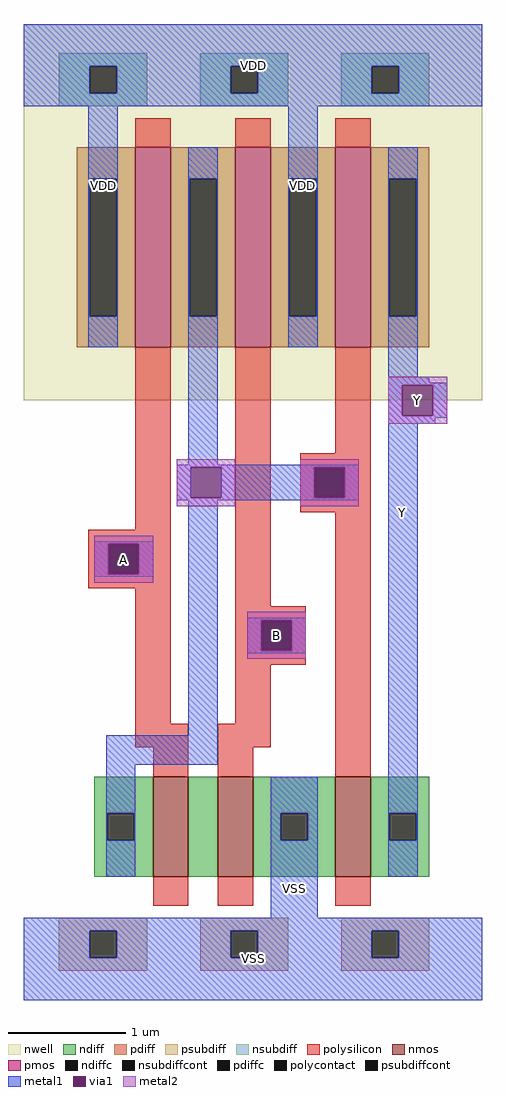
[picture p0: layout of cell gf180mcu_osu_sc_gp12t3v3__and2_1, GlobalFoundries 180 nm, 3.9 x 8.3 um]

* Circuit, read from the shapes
.subckt gf180mcu_osu_sc_gp12t3v3__and2_1 A B Y VDD VSS
XM1 n1 A n2 VSS nfet_03v3 w=0.85u l=0.3u
XM2 VSS B n1 VSS nfet_03v3 w=0.85u l=0.3u
XM3 Y n2 VSS VSS nfet_03v3 w=0.85u l=0.3u
XM4 n2 A VDD VDD pfet_03v3 w=1.7u l=0.3u
XM5 VDD B n2 VDD pfet_03v3 w=1.7u l=0.3u
XM6 Y n2 VDD VDD pfet_03v3 w=1.7u l=0.3u
.ends

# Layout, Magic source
magic
tech gf180mcuA
magscale 1 10
<< nwell >>
rect 0 1020 780 1660
<< nmos >>
rect 220 210 280 380
rect 330 210 390 380
rect 530 210 590 380
<< pmos >>
rect 190 1110 250 1450
rect 360 1110 420 1450
rect 530 1110 590 1450
<< ndiff >>
rect 120 318 220 380
rect 120 272 142 318
rect 188 272 220 318
rect 120 210 220 272
rect 280 210 330 380
rect 390 318 530 380
rect 390 272 437 318
rect 483 272 530 318
rect 390 210 530 272
rect 590 318 690 380
rect 590 272 622 318
rect 668 272 690 318
rect 590 210 690 272
<< pdiff >>
rect 90 1397 190 1450
rect 90 1163 112 1397
rect 158 1163 190 1397
rect 90 1110 190 1163
rect 250 1397 360 1450
rect 250 1163 282 1397
rect 328 1163 360 1397
rect 250 1110 360 1163
rect 420 1397 530 1450
rect 420 1163 452 1397
rect 498 1163 530 1397
rect 420 1110 530 1163
rect 590 1397 690 1450
rect 590 1163 622 1397
rect 668 1163 690 1397
rect 590 1110 690 1163
<< ndiffc >>
rect 142 272 188 318
rect 437 272 483 318
rect 622 272 668 318
<< pdiffc >>
rect 112 1163 158 1397
rect 282 1163 328 1397
rect 452 1163 498 1397
rect 622 1163 668 1397
<< psubdiff >>
rect 60 118 210 140
rect 60 72 112 118
rect 158 72 210 118
rect 60 50 210 72
rect 300 118 450 140
rect 300 72 352 118
rect 398 72 450 118
rect 300 50 450 72
rect 540 118 690 140
rect 540 72 592 118
rect 638 72 690 118
rect 540 50 690 72
<< nsubdiff >>
rect 60 1588 210 1610
rect 60 1542 112 1588
rect 158 1542 210 1588
rect 60 1520 210 1542
rect 300 1588 450 1610
rect 300 1542 352 1588
rect 398 1542 450 1588
rect 300 1520 450 1542
rect 540 1588 690 1610
rect 540 1542 592 1588
rect 638 1542 690 1588
rect 540 1520 690 1542
<< psubdiffcont >>
rect 112 72 158 118
rect 352 72 398 118
rect 592 72 638 118
<< nsubdiffcont >>
rect 112 1542 158 1588
rect 352 1542 398 1588
rect 592 1542 638 1588
<< polysilicon >>
rect 190 1450 250 1500
rect 360 1450 420 1500
rect 530 1450 590 1500
rect 190 800 250 1110
rect 110 773 250 800
rect 110 727 147 773
rect 193 727 250 773
rect 110 700 250 727
rect 190 470 250 700
rect 360 670 420 1110
rect 530 930 590 1110
rect 470 903 590 930
rect 470 857 497 903
rect 543 857 590 903
rect 470 830 590 857
rect 360 643 480 670
rect 360 597 407 643
rect 453 597 480 643
rect 360 570 480 597
rect 360 470 420 570
rect 190 430 280 470
rect 220 380 280 430
rect 330 430 420 470
rect 330 380 390 430
rect 530 380 590 830
rect 220 160 280 210
rect 330 160 390 210
rect 530 160 590 210
<< polycontact >>
rect 147 727 193 773
rect 497 857 543 903
rect 407 597 453 643
<< metal1 >>
rect 0 1588 780 1660
rect 0 1542 112 1588
rect 158 1542 352 1588
rect 398 1542 592 1588
rect 638 1542 780 1588
rect 0 1520 780 1542
rect 110 1397 160 1520
rect 110 1163 112 1397
rect 158 1163 160 1397
rect 110 1110 160 1163
rect 280 1397 330 1450
rect 280 1163 282 1397
rect 328 1163 330 1397
rect 280 910 330 1163
rect 450 1397 500 1520
rect 450 1163 452 1397
rect 498 1163 500 1397
rect 450 1110 500 1163
rect 620 1397 670 1450
rect 620 1163 622 1397
rect 668 1163 670 1397
rect 620 1060 670 1163
rect 620 1050 690 1060
rect 620 1046 720 1050
rect 620 994 644 1046
rect 696 994 720 1046
rect 620 990 720 994
rect 620 980 700 990
rect 260 906 570 910
rect 260 854 284 906
rect 336 854 494 906
rect 546 854 570 906
rect 260 850 570 854
rect 120 776 220 780
rect 120 724 144 776
rect 196 724 220 776
rect 120 720 220 724
rect 280 450 330 850
rect 380 646 480 650
rect 380 594 404 646
rect 456 594 480 646
rect 380 590 480 594
rect 140 400 330 450
rect 140 318 190 400
rect 140 272 142 318
rect 188 272 190 318
rect 140 210 190 272
rect 420 318 500 380
rect 420 272 437 318
rect 483 272 500 318
rect 420 140 500 272
rect 620 318 670 980
rect 620 272 622 318
rect 668 272 670 318
rect 620 210 670 272
rect 0 118 780 140
rect 0 72 112 118
rect 158 72 352 118
rect 398 72 592 118
rect 638 72 780 118
rect 0 0 780 72
<< via1 >>
rect 644 994 696 1046
rect 284 854 336 906
rect 494 903 546 906
rect 494 857 497 903
rect 497 857 543 903
rect 543 857 546 903
rect 494 854 546 857
rect 144 773 196 776
rect 144 727 147 773
rect 147 727 193 773
rect 193 727 196 773
rect 144 724 196 727
rect 404 643 456 646
rect 404 597 407 643
rect 407 597 453 643
rect 453 597 456 643
rect 404 594 456 597
<< metal2 >>
rect 620 1046 720 1060
rect 620 994 644 1046
rect 696 994 720 1046
rect 620 980 720 994
rect 260 906 360 920
rect 260 854 284 906
rect 336 854 360 906
rect 260 840 360 854
rect 470 906 570 920
rect 470 854 494 906
rect 546 854 570 906
rect 470 840 570 854
rect 120 776 220 790
rect 120 724 144 776
rect 196 724 220 776
rect 120 710 220 724
rect 380 646 480 660
rect 380 594 404 646
rect 456 594 480 646
rect 380 580 480 594
<< labels >>
rlabel via1 s 144 724 196 776 4 A
port 1 nsew signal input
rlabel via1 s 404 594 456 646 4 B
port 2 nsew signal input
rlabel via1 s 644 994 696 1046 4 Y
port 3 nsew signal output
rlabel metal1 s 110 1110 160 1660 4 VDD
port 4 nsew power bidirectional abutment
rlabel metal1 s 420 0 500 380 4 VSS
port 5 nsew ground bidirectional abutment
rlabel metal1 s 450 1110 500 1660 1 VDD
port 4 nsew power bidirectional abutment
rlabel metal1 s 0 1520 780 1660 1 VDD
port 4 nsew power bidirectional abutment
rlabel metal1 s 0 0 780 140 1 VSS
port 5 nsew ground bidirectional abutment
rlabel metal2 s 120 710 220 790 1 A
port 1 nsew signal input
rlabel metal1 s 120 720 220 780 1 A
port 1 nsew signal input
rlabel metal2 s 380 580 480 660 1 B
port 2 nsew signal input
rlabel metal1 s 380 590 480 650 1 B
port 2 nsew signal input
rlabel metal2 s 620 980 720 1060 1 Y
port 3 nsew signal output
rlabel metal1 s 620 210 670 1450 1 Y
port 3 nsew signal output
rlabel metal1 s 620 980 690 1060 1 Y
port 3 nsew signal output
rlabel metal1 s 620 980 700 1050 1 Y
port 3 nsew signal output
rlabel metal1 s 620 990 720 1050 1 Y
port 3 nsew signal output
<< properties >>
string FIXED_BBOX 0 0 780 1660
string GDS_END 35862
string GDS_FILE $PDKPATH/libs.ref/gf180mcu_osu_sc_gp12t3v3/gds/gf180mcu_osu_sc_gp12t3v3.gds
string GDS_START 30224
string LEFclass CORE
string LEFsite gf180mcu_osu_sc_gp12t3v3
string LEFsymmetry X Y
<< end >>
